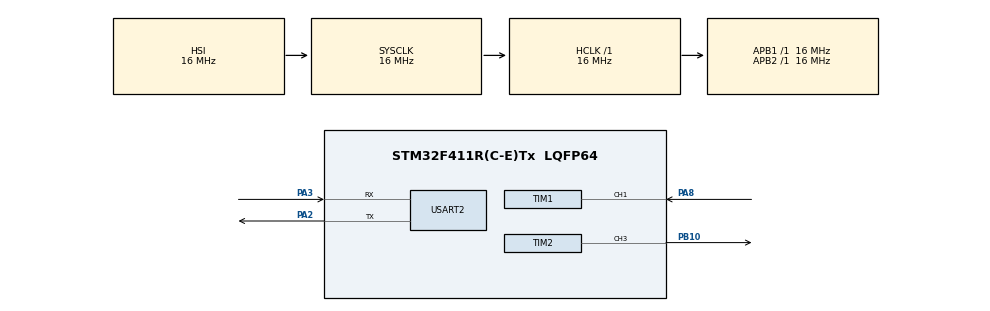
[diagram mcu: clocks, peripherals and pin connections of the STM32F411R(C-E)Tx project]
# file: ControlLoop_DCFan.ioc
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Mcu.Family=STM32F4
Mcu.Name=STM32F411R(C-E)Tx
Mcu.Package=LQFP64
NVIC.PriorityGroup=NVIC_PRIORITYGROUP_4
NVIC.TIM1_CC_IRQn=true\:0\:0\:false\:false\:true\:true\:true\:true
PA13.Mode=Serial_Wire
PA13.Signal=SYS_JTMS-SWDIO
PA14.Mode=Serial_Wire
PA14.Signal=SYS_JTCK-SWCLK
PA2.Mode=Asynchronous
PA2.Signal=USART2_TX
PA3.Mode=Asynchronous
PA3.Signal=USART2_RX
PA8.GPIO_PuPd=GPIO_PULLUP
PA8.Signal=S_TIM1_CH1
PB10.Signal=S_TIM2_CH3
ProjectManager.HeapSize=0x200
ProjectManager.StackSize=0x400
ProjectManager.TargetToolchain=STM32CubeIDE
RCC.AHBFreq_Value=16000000
RCC.APB1Freq_Value=16000000
RCC.APB2Freq_Value=16000000
RCC.CortexFreq_Value=16000000
RCC.HSE_VALUE=25000000
RCC.HSI_VALUE=16000000
RCC.LSE_VALUE=32768
RCC.SYSCLKFreq_VALUE=16000000
RCC.VCOOutputFreq_Value=192000000
SH.S_TIM1_CH1.0=TIM1_CH1,Input_Capture1_from_TI1
SH.S_TIM2_CH3.0=TIM2_CH3,PWM Generation3 CH3
TIM1.Channel-Input_Capture1_from_TI1=TIM_CHANNEL_1
TIM2.Channel-PWM\ Generation3\ CH3=TIM_CHANNEL_3
TIM2.Period=639
USART2.VirtualMode=VM_ASYNC
board=custom

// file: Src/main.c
/* USER CODE BEGIN Header */
/**
  ******************************************************************************
  * @file           : main.c
  * @brief          : Main program body
  ******************************************************************************
  * @attention
  *
  * Copyright (c) 2026 STMicroelectronics.
  * All rights reserved.
  *
  * This software is licensed under terms that can be found in the LICENSE file
  * in the root directory of this software component.
  * If no LICENSE file comes with this software, it is provided AS-IS.
  *
  ******************************************************************************
  */
/* USER CODE END Header */
#include "main.h"

/* USER CODE BEGIN Includes */
#include <stdio.h>
#include "fan_controller.h"
/* USER CODE END Includes */

TIM_HandleTypeDef htim1;
TIM_HandleTypeDef htim2;

UART_HandleTypeDef huart2;

/* USER CODE BEGIN PV */
volatile float targetRpm = 3500.0f;
volatile FanControlMode controllerMode = FAN_MODE_PD;
static const float Kp = 0.0122f, Ki = 0.0061f, Kd = 0.00061f;
static const float fullSpeedRpm = 4093.65f;
static const float derivativeFilterSeconds = 0.20f;
static const uint32_t controlPeriodMs = 100U;

static volatile uint32_t tachPulseCount = 0U;
static volatile uint32_t lastTachPulseMs = 0U;
/* USER CODE END PV */

void SystemClock_Config(void);
static void MX_GPIO_Init(void);
static void MX_TIM1_Init(void);
static void MX_TIM2_Init(void);
static void MX_USART2_UART_Init(void);

/* USER CODE BEGIN 0 */
static float ReadFanRpm(uint32_t *sampleTime)
{
  static uint32_t previousCount = 0U;
  static uint32_t previousSampleMs = 0U;
  static uint32_t previousEdgeMs = 0U;
  static bool previousEdgeValid = false;

  uint32_t interruptMask = __get_PRIMASK();
  __disable_irq();
  uint32_t now = HAL_GetTick();
  uint32_t count = tachPulseCount;
  uint32_t edgeMs = lastTachPulseMs;
  __set_PRIMASK(interruptMask);

  uint32_t pulses = count - previousCount;
  uint32_t elapsed = now - previousSampleMs;
  /* Keep pulse counting. Align the time span to the last edge of each
     window to reduce the old +/-one-pulse (~300 RPM) quantization. */
  if (previousEdgeValid && (pulses > 0U) && ((edgeMs - previousEdgeMs) > 0U))
  {
    elapsed = edgeMs - previousEdgeMs;
  }
  float rpm = elapsed > 0U ? (float)pulses * 60000.0f / (2.0f * (float)elapsed) : 0.0f;
  previousCount = count;
  previousSampleMs = now;
  previousEdgeMs = edgeMs;
  previousEdgeValid = pulses > 0U;
  *sampleTime = now;
  return rpm;
}

static float ApplyFanDuty(float duty)
{
  if (duty < 0.0f) { duty = 0.0f; }
  if (duty > 100.0f) { duty = 100.0f; }
  uint32_t period = __HAL_TIM_GET_AUTORELOAD(&htim2) + 1U;
  uint32_t compare = (uint32_t)((float)period * duty / 100.0f + 0.5f);
  __HAL_TIM_SET_COMPARE(&htim2, TIM_CHANNEL_3, compare);
  return (float)compare * 100.0f / (float)period;
}
/* USER CODE END 0 */

int main(void)
{

  /* USER CODE BEGIN 1 */
  FanController controller = {
    .kp = Kp, .ki = Ki, .kd = Kd,
    .dt = (float)controlPeriodMs / 1000.0f,
    .max_rpm = fullSpeedRpm, .derivative_tau = derivativeFilterSeconds
  };
  FanControlMode previousMode = controllerMode;
  uint32_t nextControlTime, startTime;
/* USER CODE END 1 */

  /* MCU Configuration--------------------------------------------------------*/

  /* Reset of all peripherals, Initializes the Flash interface and the Systick. */
  HAL_Init();

  /* Configure the system clock */
  SystemClock_Config();

  /* Initialize all configured peripherals */
  MX_GPIO_Init();
  MX_TIM1_Init();
  MX_TIM2_Init();
  MX_USART2_UART_Init();
  /* USER CODE BEGIN 2 */
  __HAL_TIM_SET_COMPARE(&htim2, TIM_CHANNEL_3, 0U);
  if (HAL_TIM_PWM_Start(&htim2, TIM_CHANNEL_3) != HAL_OK)
  {
    Error_Handler();
  }
  if (HAL_TIM_IC_Start_IT(&htim1, TIM_CHANNEL_1) != HAL_OK)
  {
    Error_Handler();
  }
  FanController_Reset(&controller);
  startTime = HAL_GetTick();
  nextControlTime = startTime + controlPeriodMs;
/* USER CODE END 2 */

  /* Infinite loop */
  while (1)
  {

    /* USER CODE BEGIN 3 */
    uint32_t now = HAL_GetTick();
    if ((int32_t)(now - nextControlTime) >= 0)
    {
      bool late = (now - nextControlTime) > 5U;
      nextControlTime = (late ? now : nextControlTime) + controlPeriodMs;
      float rpm = ReadFanRpm(&now);
      if (late)
      {
        FanController_Reset(&controller);
        continue;
      }
      FanControlMode mode = controllerMode;
      if (mode != previousMode)
      {
        FanController_Reset(&controller);
        previousMode = mode;
      }
      float target = targetRpm;
      float duty = 0.0f;
      /* Each controller can be called separately here. */
      switch (mode)
      {
        case FAN_MODE_OPEN_LOOP: duty = Fan_OpenLoop(&controller, target); break;
        case FAN_MODE_P:         duty = Fan_P(&controller, target, rpm); break;
        case FAN_MODE_PD:        duty = Fan_PD(&controller, target, rpm); break;
        case FAN_MODE_PID:       duty = Fan_PID(&controller, target, rpm); break;
        default:                FanController_Reset(&controller); break;
      }
      duty = ApplyFanDuty(duty);

      /* CSV: time_ms,target_rpm,actual_rpm,pwm_duty,control_mode. */
      static const char *const names[] = {"OPEN_LOOP", "P", "PD", "PID"};
      const char *name = (unsigned int)mode < 4U ? names[mode] : "INVALID";
      uint32_t dutyTenths = (uint32_t)(duty * 10.0f + 0.5f);
      char message[80];
      int length = snprintf(message, sizeof(message), "%lu,%lu,%lu,%lu.%lu,%s\r\n",
                            (unsigned long)(now - startTime),
                            (unsigned long)(target > 0.0f ? target + 0.5f : 0.0f),
                            (unsigned long)(rpm + 0.5f),
                            (unsigned long)(dutyTenths / 10U),
                            (unsigned long)(dutyTenths % 10U), name);
      if (length > 0 && (size_t)length < sizeof(message))
      {
        HAL_UART_Transmit(&huart2, (const uint8_t *)message, (uint16_t)length, 20U);
      }
    }
    HAL_Delay(1U);
  }
/* USER CODE END 3 */
}

void SystemClock_Config(void)
{
  RCC_OscInitTypeDef RCC_OscInitStruct = {0};
  RCC_ClkInitTypeDef RCC_ClkInitStruct = {0};

  /** Configure the main internal regulator output voltage
  */
  __HAL_RCC_PWR_CLK_ENABLE();
  __HAL_PWR_VOLTAGESCALING_CONFIG(PWR_REGULATOR_VOLTAGE_SCALE1);

  /** Initializes the RCC Oscillators according to the specified parameters
  * in the RCC_OscInitTypeDef structure.
  */
  RCC_OscInitStruct.OscillatorType = RCC_OSCILLATORTYPE_HSI;
  RCC_OscInitStruct.HSIState = RCC_HSI_ON;
  RCC_OscInitStruct.HSICalibrationValue = RCC_HSICALIBRATION_DEFAULT;
  RCC_OscInitStruct.PLL.PLLState = RCC_PLL_NONE;
  if (HAL_RCC_OscConfig(&RCC_OscInitStruct) != HAL_OK)
  {
    Error_Handler();
  }

  /** Initializes the CPU, AHB and APB buses clocks
  */
  RCC_ClkInitStruct.ClockType = RCC_CLOCKTYPE_HCLK|RCC_CLOCKTYPE_SYSCLK
                              |RCC_CLOCKTYPE_PCLK1|RCC_CLOCKTYPE_PCLK2;
  RCC_ClkInitStruct.SYSCLKSource = RCC_SYSCLKSOURCE_HSI;
  RCC_ClkInitStruct.AHBCLKDivider = RCC_SYSCLK_DIV1;
  RCC_ClkInitStruct.APB1CLKDivider = RCC_HCLK_DIV1;
  RCC_ClkInitStruct.APB2CLKDivider = RCC_HCLK_DIV1;

  if (HAL_RCC_ClockConfig(&RCC_ClkInitStruct, FLASH_LATENCY_0) != HAL_OK)
  {
    Error_Handler();
  }
}

static void MX_TIM1_Init(void)
{

  TIM_MasterConfigTypeDef sMasterConfig = {0};
  TIM_IC_InitTypeDef sConfigIC = {0};

  htim1.Instance = TIM1;
  htim1.Init.Prescaler = 0;
  htim1.Init.CounterMode = TIM_COUNTERMODE_UP;
  htim1.Init.Period = 65535;
  htim1.Init.ClockDivision = TIM_CLOCKDIVISION_DIV1;
  htim1.Init.RepetitionCounter = 0;
  htim1.Init.AutoReloadPreload = TIM_AUTORELOAD_PRELOAD_DISABLE;
  if (HAL_TIM_IC_Init(&htim1) != HAL_OK)
  {
    Error_Handler();
  }
  sMasterConfig.MasterOutputTrigger = TIM_TRGO_RESET;
  sMasterConfig.MasterSlaveMode = TIM_MASTERSLAVEMODE_DISABLE;
  if (HAL_TIMEx_MasterConfigSynchronization(&htim1, &sMasterConfig) != HAL_OK)
  {
    Error_Handler();
  }
  sConfigIC.ICPolarity = TIM_INPUTCHANNELPOLARITY_RISING;
  sConfigIC.ICSelection = TIM_ICSELECTION_DIRECTTI;
  sConfigIC.ICPrescaler = TIM_ICPSC_DIV1;
  sConfigIC.ICFilter = 0;
  if (HAL_TIM_IC_ConfigChannel(&htim1, &sConfigIC, TIM_CHANNEL_1) != HAL_OK)
  {
    Error_Handler();
  }

}

static void MX_TIM2_Init(void)
{

  TIM_MasterConfigTypeDef sMasterConfig = {0};
  TIM_OC_InitTypeDef sConfigOC = {0};

  htim2.Instance = TIM2;
  htim2.Init.Prescaler = 0;
  htim2.Init.CounterMode = TIM_COUNTERMODE_UP;
  htim2.Init.Period = 639;
  htim2.Init.ClockDivision = TIM_CLOCKDIVISION_DIV1;
  htim2.Init.AutoReloadPreload = TIM_AUTORELOAD_PRELOAD_DISABLE;
  if (HAL_TIM_PWM_Init(&htim2) != HAL_OK)
  {
    Error_Handler();
  }
  sMasterConfig.MasterOutputTrigger = TIM_TRGO_RESET;
  sMasterConfig.MasterSlaveMode = TIM_MASTERSLAVEMODE_DISABLE;
  if (HAL_TIMEx_MasterConfigSynchronization(&htim2, &sMasterConfig) != HAL_OK)
  {
    Error_Handler();
  }
  sConfigOC.OCMode = TIM_OCMODE_PWM1;
  sConfigOC.Pulse = 0;
  sConfigOC.OCPolarity = TIM_OCPOLARITY_HIGH;
  sConfigOC.OCFastMode = TIM_OCFAST_DISABLE;
  if (HAL_TIM_PWM_ConfigChannel(&htim2, &sConfigOC, TIM_CHANNEL_3) != HAL_OK)
  {
    Error_Handler();
  }
  HAL_TIM_MspPostInit(&htim2);

}

static void MX_USART2_UART_Init(void)
{

  huart2.Instance = USART2;
  huart2.Init.BaudRate = 115200;
  huart2.Init.WordLength = UART_WORDLENGTH_8B;
  huart2.Init.StopBits = UART_STOPBITS_1;
  huart2.Init.Parity = UART_PARITY_NONE;
  huart2.Init.Mode = UART_MODE_TX_RX;
  huart2.Init.HwFlowCtl = UART_HWCONTROL_NONE;
  huart2.Init.OverSampling = UART_OVERSAMPLING_16;
  if (HAL_UART_Init(&huart2) != HAL_OK)
  {
    Error_Handler();
  }

}

static void MX_GPIO_Init(void)
{

  /* GPIO Ports Clock Enable */
  __HAL_RCC_GPIOA_CLK_ENABLE();
  __HAL_RCC_GPIOB_CLK_ENABLE();

}

/* USER CODE BEGIN 4 */
void HAL_TIM_IC_CaptureCallback(TIM_HandleTypeDef *htim)
{
  if ((htim->Instance == TIM1) && (htim->Channel == HAL_TIM_ACTIVE_CHANNEL_1))
  {
    tachPulseCount++;
    lastTachPulseMs = HAL_GetTick();
  }
}
/* USER CODE END 4 */

void Error_Handler(void)
{
  __disable_irq();
  while (1)
  {
  }
}
